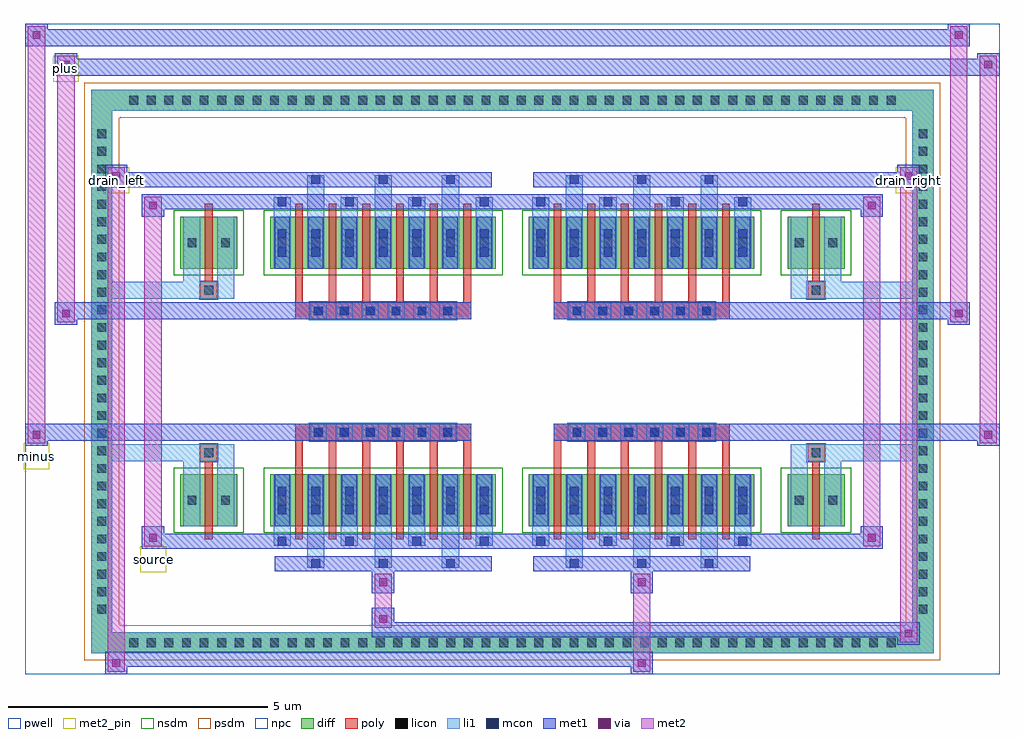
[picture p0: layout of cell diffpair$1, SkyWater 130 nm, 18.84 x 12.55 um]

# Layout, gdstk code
import gdstk
lib = gdstk.Library(unit=1e-6, precision=5e-09)
def R(c, l, rs):  # rectangles x0, y0, x1, y1
    for r in rs: c.add(gdstk.rectangle(r[:2], r[2:], *l))
def A(c, l, x, y, w, h, nx, ny, dx, dy):  # array of equal rectangles
    R(c, l, [(x+i*dx, y+j*dy, x+i*dx+w, y+j*dy+h) for i in range(nx) for j in range(ny)])
def P(c, l, *ps):  # polygons
    for p in ps: c.add(gdstk.Polygon(p, *l))
pwell = (64, 44)
diff = (65, 20)
poly = (66, 20)
licon = (66, 44)
li1 = (67, 20)
mcon = (67, 44)
met1 = (68, 20)
via = (68, 44)
met2_pin = (69, 16)
met2 = (69, 20)
nsdm = (93, 44)
psdm = (94, 20)
npc = (95, 20)

diffpair_1 = lib.new_cell('diffpair$1')
R(diffpair_1, pwell, [(-9.4,-5.84,9.4,6.71), (-6.72,-4.03,-0.01,-0.805), (0.01,-4.03,6.72,-0.805), (-6.72,0.805,-0.01,4.03), (0.01,0.805,6.72,4.03)])
A(diffpair_1, diff, -7.515, -5.44, 0.41, 0.41, 44, 2, 0.34, 10.47)
A(diffpair_1, diff, -8.13, -4.795, 0.41, 0.41, 1, 28, 0, 0.34)
A(diffpair_1, diff, 7.72, -4.795, 0.41, 0.41, 1, 28, 0, 0.34)
R(diffpair_1, diff, [(-7.515,-5.44,7.515,-5.03), (-8.13,-4.795,-7.72,4.795), (7.72,-4.795,8.13,4.795), (-6.41,-2.985,-5.31,-1.985), (-4.67,-2.985,-0.32,-1.985), (0.32,-2.985,4.67,-1.985), (5.31,-2.985,6.41,-1.985), (-6.41,1.985,-5.31,2.985), (-4.67,1.985,-0.32,2.985), (0.32,1.985,4.67,2.985), (5.31,1.985,6.41,2.985), (-7.515,5.03,7.515,5.44)])
P(diffpair_1, diff, [(8.13,5.44),(-8.13,5.44),(-8.13,-5.03),(-7.72,-5.03),(-7.72,5.03),(7.72,5.03),(7.72,-5.03),(-7.72,-5.03),(-8.13,-5.03),(-8.13,-5.44),(8.13,-5.44)])
A(diffpair_1, poly, -4.195, -3.235, 0.15, 1.5, 6, 2, 0.65, 4.97)
A(diffpair_1, poly, 0.795, -3.235, 0.15, 1.5, 6, 2, 0.65, 4.97)
A(diffpair_1, poly, -4.195, -1.735, 0.15, 0.4, 6, 2, 0.65, 3.07)
A(diffpair_1, poly, 0.795, -1.735, 0.15, 0.4, 6, 2, 0.65, 3.07)
A(diffpair_1, poly, -3.91, -1.335, 0.33, 0.33, 6, 2, 0.5, 2.34)
A(diffpair_1, poly, 1.08, -1.335, 0.33, 0.33, 6, 2, 0.5, 2.34)
R(diffpair_1, poly, [(-5.935,-3.235,-5.785,-1.735), (5.785,-3.235,5.935,-1.735), (-6.025,-1.735,-5.695,-1.405), (-6.025,-1.735,-5.695,-1.405), (5.695,-1.735,6.025,-1.405), (5.695,-1.735,6.025,-1.405), (-4.195,-1.335,-0.795,-1.005), (0.795,-1.335,4.195,-1.005), (-4.195,1.005,-0.795,1.335), (0.795,1.005,4.195,1.335), (-6.025,1.405,-5.695,1.735), (-6.025,1.405,-5.695,1.735), (5.695,1.405,6.025,1.735), (5.695,1.405,6.025,1.735), (-5.935,1.735,-5.785,3.235), (5.785,1.735,5.935,3.235)])
A(diffpair_1, licon, -7.395, -5.32, 0.17, 0.17, 44, 2, 0.34, 10.47)
A(diffpair_1, licon, -8.01, -4.675, 0.17, 0.17, 1, 28, 0, 0.34)
A(diffpair_1, licon, 7.84, -4.675, 0.17, 0.17, 1, 28, 0, 0.34)
A(diffpair_1, licon, -4.53, -2.57, 0.17, 0.17, 7, 2, 0.65, 4.97)
A(diffpair_1, licon, 0.46, -2.57, 0.17, 0.17, 7, 2, 0.65, 4.97)
A(diffpair_1, licon, -3.83, -1.255, 0.17, 0.17, 6, 2, 0.5, 2.34)
A(diffpair_1, licon, 1.16, -1.255, 0.17, 0.17, 6, 2, 0.5, 2.34)
R(diffpair_1, licon, [(-6.27,-2.57,-6.1,-2.4), (-5.62,-2.57,-5.45,-2.4), (5.45,-2.57,5.62,-2.4), (6.1,-2.57,6.27,-2.4), (-5.945,-1.655,-5.775,-1.485), (5.775,-1.655,5.945,-1.485), (-5.945,1.485,-5.775,1.655), (5.775,1.485,5.945,1.655), (-6.27,2.4,-6.1,2.57), (-5.62,2.4,-5.45,2.57), (5.45,2.4,5.62,2.57), (6.1,2.4,6.27,2.57)])
A(diffpair_1, li1, -7.475, -5.4, 0.33, 0.33, 44, 2, 0.34, 10.47)
A(diffpair_1, li1, -8.09, -4.755, 0.33, 0.33, 1, 28, 0, 0.34)
A(diffpair_1, li1, 7.76, -4.755, 0.33, 0.33, 1, 28, 0, 0.34)
A(diffpair_1, li1, -3.96, -3.79, 0.33, 0.805, 3, 2, 1.3, 6.775)
A(diffpair_1, li1, -3.88, -3.79, 0.17, 0.17, 3, 2, 1.3, 7.41)
A(diffpair_1, li1, 1.03, -3.79, 0.33, 0.805, 3, 2, 1.3, 6.775)
A(diffpair_1, li1, 1.11, -3.79, 0.17, 0.17, 3, 2, 1.3, 7.41)
A(diffpair_1, li1, -4.61, -3.36, 0.33, 0.375, 4, 2, 1.3, 6.345)
A(diffpair_1, li1, -4.53, -3.36, 0.17, 0.17, 4, 2, 1.3, 6.55)
A(diffpair_1, li1, 0.38, -3.36, 0.33, 0.375, 4, 2, 1.3, 6.345)
A(diffpair_1, li1, 0.46, -3.36, 0.17, 0.17, 4, 2, 1.3, 6.55)
A(diffpair_1, li1, -4.61, -2.985, 0.33, 1, 7, 2, 0.65, 4.97)
A(diffpair_1, li1, 0.38, -2.985, 0.33, 1, 7, 2, 0.65, 4.97)
A(diffpair_1, li1, -4.53, -2.75, 0.17, 0.17, 7, 2, 0.65, 0.36)
A(diffpair_1, li1, -4.53, -2.75, 0.17, 0.53, 7, 2, 0.65, 4.97)
A(diffpair_1, li1, 0.46, -2.75, 0.17, 0.17, 7, 2, 0.65, 0.36)
A(diffpair_1, li1, 0.46, -2.75, 0.17, 0.53, 7, 2, 0.65, 4.97)
A(diffpair_1, li1, -4.61, -2.65, 0.33, 0.33, 7, 2, 0.65, 4.97)
A(diffpair_1, li1, 0.38, -2.65, 0.33, 0.33, 7, 2, 0.65, 4.97)
A(diffpair_1, li1, -3.91, -1.335, 0.33, 0.33, 6, 2, 0.5, 2.34)
A(diffpair_1, li1, 1.08, -1.335, 0.33, 0.33, 6, 2, 0.5, 2.34)
A(diffpair_1, li1, -4.53, 2.22, 0.17, 0.17, 7, 2, 0.65, 0.36)
A(diffpair_1, li1, 0.46, 2.22, 0.17, 0.17, 7, 2, 0.65, 0.36)
R(diffpair_1, li1, [(-8.13,-5.44,-7.72,-5.03), (-8.13,-5.44,-7.72,-5.03), (-7.72,-5.44,7.72,-5.03), (7.72,-5.44,8.13,-5.03), (7.72,-5.44,8.13,-5.03), (-8.13,-5.03,-7.72,5.03), (7.72,-5.03,8.13,5.03), (-6.35,-2.985,-6.02,-1.985), (-5.7,-2.985,-5.37,-1.985), (5.37,-2.985,5.7,-1.985), (6.02,-2.985,6.35,-1.985), (-6.35,-2.65,-6.02,-2.32), (-5.7,-2.65,-5.37,-2.32), (5.37,-2.65,5.7,-2.32), (6.02,-2.65,6.35,-2.32), (-6.35,-1.985,-6.02,-1.405), (-5.7,-1.985,-5.37,-1.405), (5.37,-1.985,5.7,-1.405), (6.02,-1.985,6.35,-1.405), (-8.13,-1.735,-6.025,-1.405), (-6.35,-1.735,-6.025,-1.405), (-6.025,-1.735,-5.695,-1.405), (-5.695,-1.735,-5.37,-1.405), (5.37,-1.735,5.695,-1.405), (5.695,-1.735,6.025,-1.405), (5.695,-1.735,8.13,-1.405), (6.025,-1.735,6.35,-1.405), (-8.13,1.405,-6.025,1.735), (-6.35,1.405,-6.025,1.735), (-6.35,1.405,-6.02,1.985), (-6.025,1.405,-5.695,1.735), (-5.7,1.405,-5.37,1.985), (-5.695,1.405,-5.37,1.735), (5.37,1.405,5.695,1.735), (5.37,1.405,5.7,1.985), (5.695,1.405,6.025,1.735), (5.695,1.405,8.13,1.735), (6.02,1.405,6.35,1.985), (6.025,1.405,6.35,1.735), (-6.35,1.985,-6.02,2.985), (-5.7,1.985,-5.37,2.985), (5.37,1.985,5.7,2.985), (6.02,1.985,6.35,2.985), (-6.35,2.32,-6.02,2.65), (-5.7,2.32,-5.37,2.65), (5.37,2.32,5.7,2.65), (6.02,2.32,6.35,2.65), (-8.13,5.03,-7.72,5.44), (-8.13,5.03,-7.72,5.44), (-7.72,5.03,7.72,5.44), (7.72,5.03,8.13,5.44), (7.72,5.03,8.13,5.44)])
A(diffpair_1, mcon, -3.88, -3.79, 0.17, 0.17, 3, 2, 1.3, 7.41)
A(diffpair_1, mcon, 1.11, -3.79, 0.17, 0.17, 3, 2, 1.3, 7.41)
A(diffpair_1, mcon, -4.53, -3.36, 0.17, 0.17, 4, 2, 1.3, 6.55)
A(diffpair_1, mcon, 0.46, -3.36, 0.17, 0.17, 4, 2, 1.3, 6.55)
A(diffpair_1, mcon, -4.53, -2.75, 0.17, 0.17, 7, 2, 0.65, 0.36)
A(diffpair_1, mcon, 0.46, -2.75, 0.17, 0.17, 7, 2, 0.65, 0.36)
A(diffpair_1, mcon, -3.83, -1.255, 0.17, 0.17, 6, 2, 0.5, 2.34)
A(diffpair_1, mcon, 1.16, -1.255, 0.17, 0.17, 6, 2, 0.5, 2.34)
A(diffpair_1, mcon, -4.53, 2.22, 0.17, 0.17, 7, 2, 0.65, 0.36)
A(diffpair_1, mcon, 0.46, 2.22, 0.17, 0.17, 7, 2, 0.65, 0.36)
A(diffpair_1, met1, -3.94, -3.85, 0.29, 0.29, 3, 2, 1.3, 7.41)
A(diffpair_1, met1, 1.05, -3.85, 0.29, 0.29, 3, 2, 1.3, 7.41)
A(diffpair_1, met1, -4.59, -3.42, 0.29, 0.29, 4, 2, 1.3, 6.55)
A(diffpair_1, met1, 0.4, -3.42, 0.29, 0.29, 4, 2, 1.3, 6.55)
A(diffpair_1, met1, -4.59, -2.985, 0.29, 1, 7, 2, 0.65, 4.97)
A(diffpair_1, met1, 0.4, -2.985, 0.29, 1, 7, 2, 0.65, 4.97)
A(diffpair_1, met1, -4.59, -2.81, 0.29, 0.29, 7, 2, 0.65, 0.36)
A(diffpair_1, met1, 0.4, -2.81, 0.29, 0.29, 7, 2, 0.65, 0.36)
A(diffpair_1, met1, -3.89, -1.315, 0.29, 0.29, 6, 2, 0.5, 2.34)
A(diffpair_1, met1, 1.1, -1.315, 0.29, 0.29, 6, 2, 0.5, 2.34)
A(diffpair_1, met1, -4.59, 2.16, 0.29, 0.29, 7, 2, 0.65, 0.36)
A(diffpair_1, met1, 0.4, 2.16, 0.29, 0.29, 7, 2, 0.65, 0.36)
R(diffpair_1, met1, [(-7.86,-5.84,-7.43,-5.41), (2.28,-5.84,2.71,-5.41), (-7.86,-5.7,2.71,-5.41), (7.43,-5.27,7.86,-4.84), (-2.71,-5.13,7.86,-4.84), (-2.71,-4.99,-2.28,-4.56), (-2.71,-4.28,-2.28,-3.85), (2.28,-4.28,2.71,-3.85), (-4.59,-3.85,-0.4,-3.56), (0.4,-3.85,4.59,-3.56), (-7.15,-3.42,-6.72,-2.99), (-7.15,-3.42,-4.59,-3.13), (-4.59,-3.42,-0.4,-3.13), (-0.4,-3.42,0.4,-3.13), (0.4,-3.42,4.59,-3.13), (4.59,-3.42,7.15,-3.13), (6.72,-3.42,7.15,-2.99), (-9.4,-1.435,-8.97,-1.005), (8.97,-1.435,9.4,-1.005), (-9.4,-1.335,-0.795,-1.005), (-4.195,-1.335,-0.795,-1.005), (0.795,-1.335,4.195,-1.005), (0.795,-1.335,9.4,-1.005), (-8.83,0.905,-8.4,1.335), (8.4,0.905,8.83,1.335), (-8.83,1.005,-4.195,1.335), (-4.195,1.005,-0.795,1.335), (0.795,1.005,4.195,1.335), (4.195,1.005,8.83,1.335), (-7.15,2.99,-6.72,3.42), (6.72,2.99,7.15,3.42), (-7.15,3.13,-4.59,3.42), (-4.59,3.13,-0.4,3.42), (-0.4,3.13,0.4,3.42), (0.4,3.13,4.59,3.42), (4.59,3.13,7.15,3.42), (-7.86,3.56,-7.43,3.99), (-7.86,3.56,-4.59,3.85), (-4.59,3.56,-0.4,3.85), (0.4,3.56,4.59,3.85), (4.59,3.56,7.86,3.85), (7.43,3.56,7.86,3.99), (-8.83,5.71,-8.4,6.14), (-8.83,5.71,-6.72,6.04), (-6.72,5.71,6.72,6.04), (6.72,5.71,9.4,6.04), (8.97,5.71,9.4,6.14), (-9.4,6.28,-8.97,6.71), (-9.4,6.28,-6.72,6.61), (-6.72,6.28,6.72,6.61), (6.72,6.28,8.83,6.61), (8.4,6.28,8.83,6.71)])
R(diffpair_1, via, [(-7.72,-5.7,-7.57,-5.55), (2.42,-5.7,2.57,-5.55), (7.57,-5.13,7.72,-4.98), (-2.57,-4.85,-2.42,-4.7), (-2.57,-4.14,-2.42,-3.99), (2.42,-4.14,2.57,-3.99), (-7.01,-3.28,-6.86,-3.13), (6.86,-3.28,7.01,-3.13), (-9.26,-1.295,-9.11,-1.145), (9.11,-1.295,9.26,-1.145), (-8.69,1.045,-8.54,1.195), (8.54,1.045,8.69,1.195), (-7.01,3.13,-6.86,3.28), (6.86,3.13,7.01,3.28), (-7.72,3.7,-7.57,3.85), (7.57,3.7,7.72,3.85), (-8.69,5.85,-8.54,6), (9.11,5.85,9.26,6), (-9.26,6.42,-9.11,6.57), (8.54,6.42,8.69,6.57)])
R(diffpair_1, met2_pin, [(-7.185,-3.87,-6.685,-3.37), (-9.435,-1.885,-8.935,-1.385), (-7.895,3.44,-7.395,3.94), (7.395,3.44,7.895,3.94), (-8.865,5.59,-8.365,6.09)])
R(diffpair_1, met2, [(-7.81,-5.79,-7.48,-5.46), (-7.81,-5.79,-7.48,3.94), (2.33,-5.79,2.66,-5.46), (2.33,-5.46,2.66,-4.23), (7.48,-5.22,7.81,-4.89), (7.48,-5.22,7.81,3.94), (-2.66,-4.94,-2.33,-4.61), (-2.66,-4.61,-2.33,-4.23), (-2.66,-4.23,-2.33,-3.9), (2.33,-4.23,2.66,-3.9), (-7.1,-3.37,-6.77,-3.04), (-7.1,-3.37,-6.77,3.37), (6.77,-3.37,7.1,-3.04), (6.77,-3.37,7.1,3.37), (-9.35,-1.385,-9.02,-1.055), (-9.35,-1.385,-9.02,6.66), (9.02,-1.385,9.35,-1.055), (9.02,-1.385,9.35,6.09), (-8.78,0.955,-8.45,1.285), (-8.78,0.955,-8.45,6.09), (8.45,0.955,8.78,1.285), (8.45,0.955,8.78,6.66), (-7.1,3.04,-6.77,3.37), (6.77,3.04,7.1,3.37), (-7.81,3.61,-7.48,3.94), (7.48,3.61,7.81,3.94), (-8.78,5.76,-8.45,6.09), (9.02,5.76,9.35,6.09), (-9.35,6.33,-9.02,6.66), (8.45,6.33,8.78,6.66)])
P(diffpair_1, met2, [(9.35,-1.385),(9.35,-1.385),(9.35,-1.055),(9.35,-1.055)],
  [(9.35,5.76),(9.35,5.76),(9.35,6.09),(9.35,6.09)],
  [(-9.02,-1.385),(-9.02,-1.385),(-9.02,-1.055),(-9.02,-1.055)],
  [(-9.02,6.33),(-9.02,6.33),(-9.02,6.66),(-9.02,6.66)],
  [(8.78,0.955),(8.78,0.955),(8.78,1.285),(8.78,1.285)],
  [(8.78,6.33),(8.78,6.33),(8.78,6.66),(8.78,6.66)],
  [(-8.45,0.955),(-8.45,0.955),(-8.45,1.285),(-8.45,1.285)],
  [(-8.45,5.76),(-8.45,5.76),(-8.45,6.09),(-8.45,6.09)],
  [(-7.48,-5.79),(-7.48,-5.79),(-7.48,-5.46),(-7.48,-5.46)],
  [(-7.48,3.61),(-7.48,3.61),(-7.48,3.94),(-7.48,3.94)],
  [(7.81,-5.22),(7.81,-5.22),(7.81,-4.89),(7.81,-4.89)],
  [(7.81,3.61),(7.81,3.61),(7.81,3.94),(7.81,3.94)],
  [(-6.77,-3.37),(-6.77,-3.37),(-6.77,-3.04),(-6.77,-3.04)],
  [(-6.77,3.04),(-6.77,3.04),(-6.77,3.37),(-6.77,3.37)],
  [(7.1,-3.37),(7.1,-3.37),(7.1,-3.04),(7.1,-3.04)],
  [(7.1,3.04),(7.1,3.04),(7.1,3.37),(7.1,3.37)])
R(diffpair_1, nsdm, [(-6.54,-3.115,-5.18,-1.855), (-4.8,-3.115,-0.19,-1.855), (0.19,-3.115,4.8,-1.855), (5.18,-3.115,6.54,-1.855), (-6.54,1.855,-5.18,3.115), (-4.8,1.855,-0.19,3.115), (0.19,1.855,4.8,3.115), (5.18,1.855,6.54,3.115)])
P(diffpair_1, psdm, [(8.26,5.57),(-8.26,5.57),(-8.26,-4.9),(-7.59,-4.9),(-7.59,4.9),(7.59,4.9),(7.59,-4.9),(-7.59,-4.9),(-8.26,-4.9),(-8.26,-5.57),(8.26,-5.57)])
A(diffpair_1, npc, -3.93, -1.355, 0.37, 0.37, 6, 2, 0.5, 2.34)
A(diffpair_1, npc, 1.06, -1.355, 0.37, 0.37, 6, 2, 0.5, 2.34)
R(diffpair_1, npc, [(-6.045,-1.755,-5.675,-1.385), (5.675,-1.755,6.045,-1.385), (-3.93,-1.355,-3.06,-0.985), (-3.93,-1.355,-3.06,-0.985), (-3.43,-1.355,-2.56,-0.985), (-3.43,-1.355,-2.56,-0.985), (-2.93,-1.355,-2.06,-0.985), (-2.93,-1.355,-2.06,-0.985), (-2.43,-1.355,-1.56,-0.985), (-2.43,-1.355,-1.56,-0.985), (-1.93,-1.355,-1.06,-0.985), (-1.93,-1.355,-1.06,-0.985), (1.06,-1.355,1.93,-0.985), (1.06,-1.355,1.93,-0.985), (1.56,-1.355,2.43,-0.985), (1.56,-1.355,2.43,-0.985), (2.06,-1.355,2.93,-0.985), (2.06,-1.355,2.93,-0.985), (2.56,-1.355,3.43,-0.985), (2.56,-1.355,3.43,-0.985), (3.06,-1.355,3.93,-0.985), (3.06,-1.355,3.93,-0.985), (-3.93,0.985,-3.06,1.355), (-3.93,0.985,-3.06,1.355), (-3.43,0.985,-2.56,1.355), (-3.43,0.985,-2.56,1.355), (-2.93,0.985,-2.06,1.355), (-2.93,0.985,-2.06,1.355), (-2.43,0.985,-1.56,1.355), (-2.43,0.985,-1.56,1.355), (-1.93,0.985,-1.06,1.355), (-1.93,0.985,-1.06,1.355), (1.06,0.985,1.93,1.355), (1.06,0.985,1.93,1.355), (1.56,0.985,2.43,1.355), (1.56,0.985,2.43,1.355), (2.06,0.985,2.93,1.355), (2.06,0.985,2.93,1.355), (2.56,0.985,3.43,1.355), (2.56,0.985,3.43,1.355), (3.06,0.985,3.93,1.355), (3.06,0.985,3.93,1.355), (-6.045,1.385,-5.675,1.755), (5.675,1.385,6.045,1.755)])
diffpair_1.add(gdstk.Label('minus', (-9.185,-1.635), layer=69, texttype=5))
diffpair_1.add(gdstk.Label('drain_right', (7.645,3.69), layer=69, texttype=5))
diffpair_1.add(gdstk.Label('drain_left', (-7.645,3.69), layer=69, texttype=5))
diffpair_1.add(gdstk.Label('source', (-6.935,-3.62), layer=69, texttype=5))
diffpair_1.add(gdstk.Label('plus', (-8.615,5.84), layer=69, texttype=5))

lib.write_gds('diffpair_1.gds')
